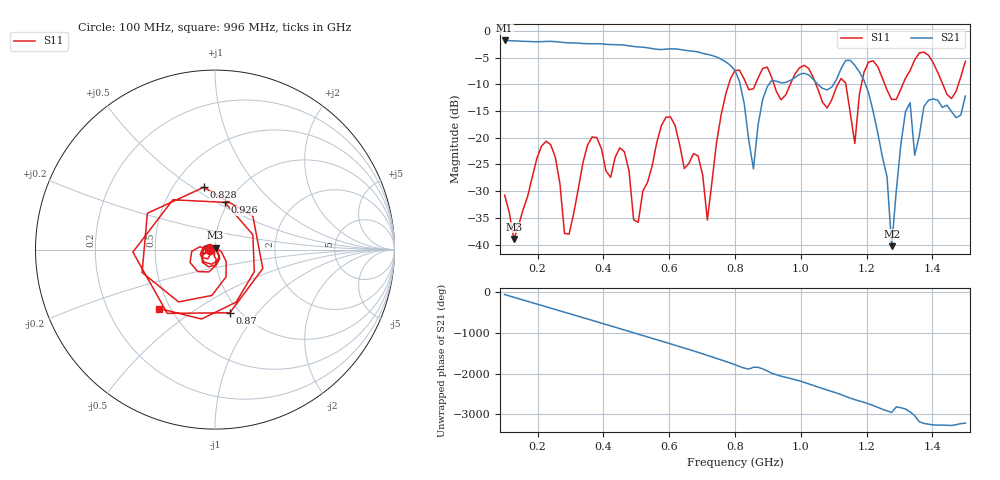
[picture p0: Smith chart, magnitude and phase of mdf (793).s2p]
! NanoVNA-App
! Date: 2025-09-25 15:44:35
! Start: 100MHz Stop: 1,5GHz Points: 101
! S-Parameter data: F S11 S21 S12 S22
# Hz S RI R 50
!  Frequency  S11_Real  S11_Imag  S21_Real  S21_Imag  S12_Real  S12_Imag  S22_Real  S22_Imag
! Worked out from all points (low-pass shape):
!   101 points, 100 MHz to 1.5 GHz, reference 50 ohm
!   highest |S21| = -1.80 dB at 100 MHz (marker M1); lowest = -40.3 dB at 1.276 GHz (marker M2)
!   |S21| within 3 dB of the highest: start of sweep to 739.4 MHz
!   lowest |S11| = -39.0 dB at 128 MHz (marker M3), VSWR 1.02, Z = 50.3 + j1.08 ohm
!   |S11| at or under -10 dB: start of sweep to 781.1 MHz; 918.5 MHz to 968.1 MHz (49.68 MHz wide, 5.27 % of centre); 1.046 GHz to 1.113 GHz (66.93 MHz wide, 6.2 % of centre) (the widest 3 of 7)
!   S12 and S22 are empty: the file has one direction only
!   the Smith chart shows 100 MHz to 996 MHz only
!   S11 on the Smith chart (normalised r, x): 100 MHz: 0.94, -0.01; 828 MHz: 0.70, +0.56; 870 MHz: 0.90, -0.73; 926 MHz: 0.96, +0.55; 996 MHz: 0.44, -0.36
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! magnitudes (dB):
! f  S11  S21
! 100 MHz  -30.7  -1.8
! 128 MHz  -39.0  -1.9
! 212 MHz  -21.6  -2.0
! 282 MHz  -37.9  -2.2
! 338 MHz  -24.7  -2.4
! 464 MHz  -22.7  -2.7
! 506 MHz  -35.8  -3.0
! 576 MHz  -17.8  -3.5
! 716 MHz  -35.4  -4.4
! 800 MHz  -7.4  -7.4
! 828 MHz  -9.1  -13.6
! 856 MHz  -10.9  -25.8
! 870 MHz  -8.8  -17.7
! 926 MHz  -11.4  -9.4
! 996 MHz  -6.9  -8.2
! 1.038 GHz  -8.8  -9.1
! 1.136 GHz  -9.7  -5.6
! 1.164 GHz  -21.1  -6.5
! 1.192 GHz  -7.7  -9.3
! 1.276 GHz  -12.9  -40.3
! 1.318 GHz  -8.9  -15.1
! 1.5 GHz  -5.7  -12.2
